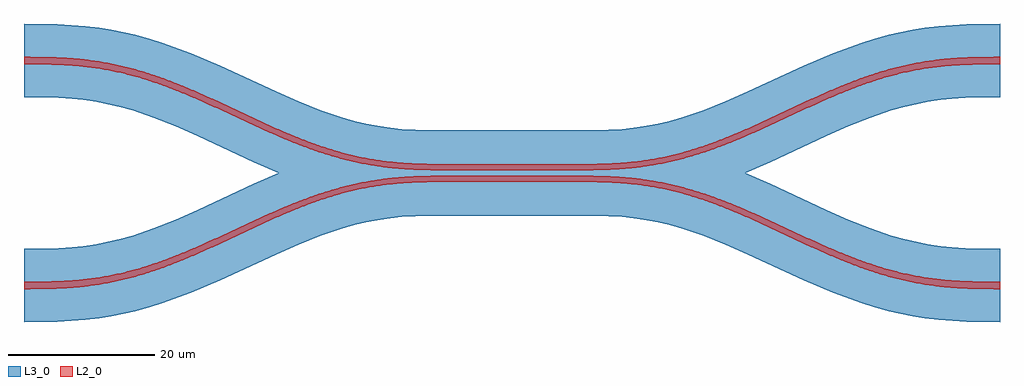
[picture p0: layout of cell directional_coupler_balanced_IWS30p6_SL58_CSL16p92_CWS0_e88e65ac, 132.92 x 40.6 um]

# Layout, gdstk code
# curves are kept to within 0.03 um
from math import pi, radians
import gdstk
lib = gdstk.Library(unit=1e-6, precision=1e-09)
def R(c, l, rs):  # rectangles x0, y0, x1, y1
    for r in rs: c.add(gdstk.rectangle(r[:2], r[2:], *l))
def P(c, l, *ps):  # polygons
    for p in ps: c.add(gdstk.Polygon(p, *l))
L2_0 = (2, 0)
L3_0 = (3, 0)

bend_s_spline_varying_wi = lib.new_cell('bend_S_spline_varying_width_S58_14p5_CSxs_c5839906_CSxs_456274cd')
P(bend_s_spline_varying_wi, L2_0, [(0.58,-0.401),(0,-0.4),(0,0.4),(3.182,0.427),(5.199,0.5),(7.213,0.643),(9.224,0.872),(10.947,1.144),(12.956,1.556),(14.679,1.988),(16.978,2.677),(19.855,3.703),(23.026,5.006),(26.204,6.437),(32.581,9.414),(36.365,11.058),(38.407,11.859),(40.16,12.484),(43.379,13.459),(45.137,13.888),(46.896,14.242),(48.362,14.479),(50.12,14.696),(53.632,14.938),(58,15),(58,14),(53.092,13.931),(51.081,13.806),(49.072,13.597),(47.064,13.293),(45.056,12.889),(43.047,12.385),(41.035,11.782),(38.445,10.876),(35.272,9.598),(32.09,8.187),(25.122,4.968),(21.625,3.468),(18.12,2.153),(14.901,1.169),(13.144,0.733),(11.679,0.428),(9.921,0.131),(8.457,-0.06),(6.702,-0.226),(4.949,-0.33)])
P(bend_s_spline_varying_wi, L3_0, [(0,-5),(0,5),(4.703,5.073),(6.543,5.19),(8.095,5.349),(9.89,5.611),(11.425,5.906),(12.967,6.269),(14.782,6.779),(17.686,7.765),(20.666,8.957),(23.73,10.314),(31.306,13.822),(35.271,15.507),(39.03,16.882),(40.941,17.477),(42.87,17.999),(46.105,18.69),(47.725,18.949),(49.661,19.186),(51.579,19.347),(53.469,19.442),(58,19.5),(58,9.5),(53.297,9.427),(51.457,9.31),(49.905,9.151),(48.11,8.889),(46.575,8.594),(45.033,8.231),(43.218,7.721),(40.314,6.735),(37.334,5.543),(34.27,4.186),(26.694,0.678),(22.729,-1.007),(18.97,-2.382),(17.059,-2.977),(15.13,-3.499),(11.895,-4.19),(10.275,-4.449),(8.339,-4.686),(6.421,-4.847),(4.531,-4.942)])

straight_gdsfactorypcomp = lib.new_cell('straight_gdsfactorypcomponentspwaveguidespstraight_L16p_d5e6a4bd')
R(straight_gdsfactorypcomp, L2_0, [(0,-0.4,16.92,0.4)])
R(straight_gdsfactorypcomp, L3_0, [(0,-5,16.92,5)])

directional_coupler_bala = lib.new_cell('directional_coupler_balanced_IWS30p6_SL58_CSL16p92_CWS0_e88e65ac')
directional_coupler_bala.add(gdstk.Reference(bend_s_spline_varying_wi, (8.46,0.8)))
directional_coupler_bala.add(gdstk.Reference(bend_s_spline_varying_wi, (8.46,-0.8), x_reflection=True))
directional_coupler_bala.add(gdstk.Reference(straight_gdsfactorypcomp, (-8.46,0.8)))
directional_coupler_bala.add(gdstk.Reference(straight_gdsfactorypcomp, (-8.46,-0.8)))
directional_coupler_bala.add(gdstk.Reference(bend_s_spline_varying_wi, (-8.46,0.8), rotation=pi, x_reflection=True))
directional_coupler_bala.add(gdstk.Reference(bend_s_spline_varying_wi, (-8.46,-0.8), rotation=pi))

lib.write_gds('directional_coupler_balanced_IWS30p6_SL58_CSL16p92_CWS0_e88e65ac.gds')
